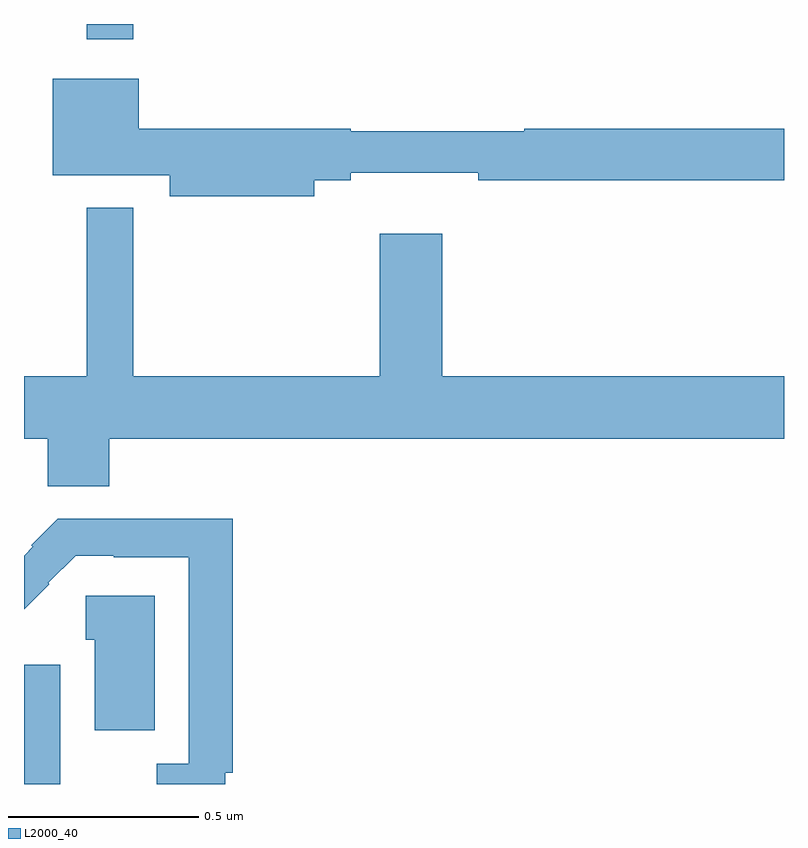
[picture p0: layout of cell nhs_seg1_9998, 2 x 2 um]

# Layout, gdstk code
import gdstk
lib = gdstk.Library(unit=1e-6, precision=1e-09)
def R(c, l, rs):  # rectangles x0, y0, x1, y1
    for r in rs: c.add(gdstk.rectangle(r[:2], r[2:], *l))
def P(c, l, *ps):  # polygons
    for p in ps: c.add(gdstk.Polygon(p, *l))
L2000_40 = (2000, 40)

nhs_seg1_9998 = lib.new_cell('nhs_seg1_9998')
R(nhs_seg1_9998, L2000_40, [(236,508.199,236.095,508.513), (236.165,510.159,236.287,510.199)])
P(nhs_seg1_9998, L2000_40, [(236.764,509.788),(236.86,509.788),(236.86,509.807),(237.196,509.807),(237.196,509.788),(238,509.788),(238,509.924),(237.317,509.924),(237.317,509.917),(236.86,509.917),(236.86,509.924),(236.302,509.924),(236.302,510.055),(236.075,510.055),(236.075,509.801),(236.384,509.801),(236.384,509.746),(236.764,509.746)],
  [(236.224,509.108),(238,509.108),(238,509.272),(237.1,509.272),(237.1,509.647),(236.936,509.647),(236.936,509.272),(236.287,509.272),(236.287,509.716),(236.165,509.716),(236.165,509.272),(236,509.272),(236,509.108),(236.063,509.108),(236.063,508.982),(236.224,508.982)],
  [(236.529,508.228),(236.549,508.228),(236.549,508.897),(236.089,508.897),(236.019,508.827),(236.023,508.823),(236,508.8),(236,508.659),(236.067,508.725),(236.064,508.728),(236.136,508.8),(236.236,508.8),(236.236,508.796),(236.433,508.796),(236.433,508.252),(236.349,508.252),(236.349,508.199),(236.529,508.199)],
  [(236.344,508.695),(236.163,508.695),(236.163,508.578),(236.186,508.578),(236.186,508.34),(236.344,508.34)])

lib.write_gds('nhs_seg1_9998.gds')
